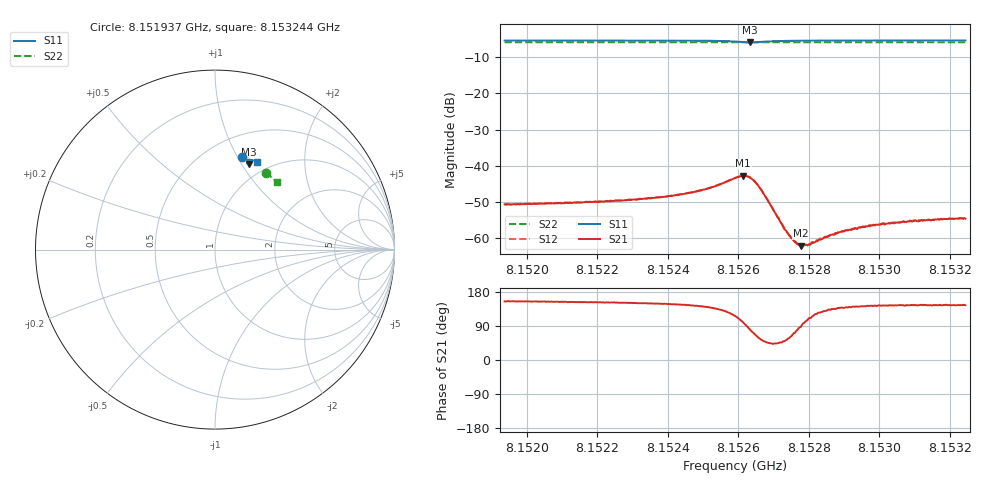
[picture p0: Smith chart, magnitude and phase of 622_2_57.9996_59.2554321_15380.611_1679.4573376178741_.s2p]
#  HZ  S  RI  R  50.00
! Rohde & Schwarz Vector Network Analyzer
! Rohde-Schwarz,ZNB20-2Port,1311601062101988,3.16
! Created: UTC 3/21/2024, 1:18:11 AM
! freq[Hz]  re:S11  im:S11  re:S21  im:S21  re:S12  im:S12  re:S22  im:S22
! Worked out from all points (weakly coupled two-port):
!   401 points, 8.151937 GHz to 8.153244 GHz, reference 50 ohm
!   highest |S21| = -42.79 dB at 8.152613 GHz (marker M1); lowest = -62.2 dB at 8.152777 GHz (marker M2)
!   lowest |S11| = -5.9 dB at 8.152633 GHz (marker M3), VSWR 3.08, Z = 41.8 + j53.5 ohm
!   |S11| at or under -10 dB: nowhere
!   |S22| runs from -5.9 to -5.8 dB; largest |S21 - S12| = 0.00014
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8.1519372e9  0.1531 0.5182  -0.00263 0.00124  -0.00264 0.00127  0.2831 0.4267
8.1521561e9  0.1688 0.5135  -0.00274 0.00142  -0.00278 0.00148  0.2944 0.4187
8.1523749e9  0.1854 0.5074  -0.00311 0.00191  -0.00311 0.00197  0.3059 0.4103
8.1524958e9  0.1965 0.5007  -0.00359 0.00282  -0.00359 0.0029  0.3119 0.4053
8.1525415e9  0.2014 0.4952  -0.00378 0.00383  -0.00374 0.00391  0.3141 0.4032
8.1525905e9  0.2032 0.4827  -0.00299 0.00605  -0.00294 0.00614  0.3161 0.4008
8.1526134e9  0.1968 0.4752  -0.00117 0.00716  -0.00113 0.00723  0.3169 0.3998
8.152633e9  0.1867 0.4742  0.00114 0.00675  0.00125 0.00684  0.3175 0.3991
8.152646e9  0.1808 0.4785  0.00228 0.00562  0.00239 0.00566  0.318 0.3989
8.1526624e9  0.178 0.4858  0.00274 0.00394  0.0028 0.00396  0.3187 0.3986
8.1527244e9  0.1876 0.4997  0.00103 0.00111  0.00104 0.00112  0.3222 0.3964
8.1527473e9  0.1914 0.5005  0.000512 0.00092  0.000533 0.000902  0.3234 0.3954
8.1527669e9  0.1942 0.501  0.000164 0.000817  0.000185 0.000802  0.3245 0.3948
8.1527767e9  0.1956 0.5009  4.46e-05 0.000779  8.67e-06 0.000797  0.3249 0.3944
8.1527865e9  0.1968 0.5011  -0.000113 0.000789  -8.83e-05 0.000808  0.3255 0.3941
8.1528094e9  0.1995 0.5006  -0.000373 0.000795  -0.000371 0.000769  0.3266 0.393
8.1528388e9  0.2024 0.5002  -0.000593 0.000777  -0.000599 0.000786  0.3281 0.3917
8.1528878e9  0.2071 0.4991  -0.000893 0.00081  -0.000897 0.000817  0.3304 0.3896
8.1529466e9  0.212 0.4977  -0.00109 0.000882  -0.0011 0.000868  0.3332 0.3871
8.1530282e9  0.2182 0.4953  -0.0013 0.000915  -0.0013 0.000976  0.3371 0.3836
8.1531687e9  0.2281 0.4915  -0.00147 0.00103  -0.00146 0.00108  0.3437 0.3775
8.1532438e9  0.2331 0.4893  -0.00151 0.00107  -0.00151 0.00111  0.3472 0.3743
